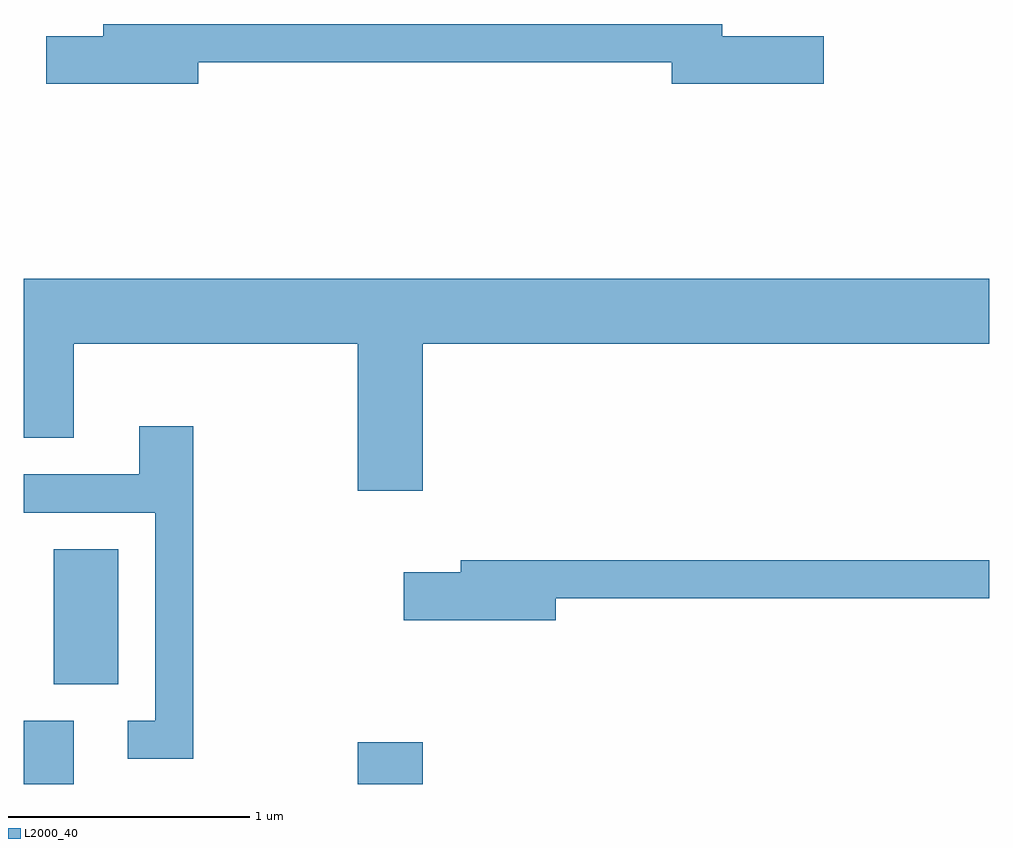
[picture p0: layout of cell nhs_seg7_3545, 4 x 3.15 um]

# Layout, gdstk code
import gdstk
lib = gdstk.Library(unit=1e-6, precision=1e-09)
def R(c, l, rs):  # rectangles x0, y0, x1, y1
    for r in rs: c.add(gdstk.rectangle(r[:2], r[2:], *l))
def P(c, l, *ps):  # polygons
    for p in ps: c.add(gdstk.Polygon(p, *l))
L2000_40 = (2000, 40)

nhs_seg7_3545 = lib.new_cell('nhs_seg7_3545')
R(nhs_seg7_3545, L2000_40, [(293.611,1730.252,293.819,1730.514), (294.996,1730.252,295.264,1730.424), (293.736,1730.666,294.004,1731.224)])
P(nhs_seg7_3545, L2000_40, [(294.334,1733.241),(296.296,1733.241),(296.296,1733.151),(296.924,1733.151),(296.924,1733.349),(296.504,1733.349),(296.504,1733.399),(293.941,1733.399),(293.941,1733.349),(293.706,1733.349),(293.706,1733.151),(294.334,1733.151)],
  [(295.264,1732.076),(297.611,1732.076),(297.611,1732.344),(293.611,1732.344),(293.611,1731.686),(293.819,1731.686),(293.819,1732.076),(294.996,1732.076),(294.996,1731.466),(295.264,1731.466)],
  [(294.314,1731.734),(294.091,1731.734),(294.091,1731.534),(293.611,1731.534),(293.611,1731.376),(294.156,1731.376),(294.156,1730.514),(294.043,1730.514),(294.043,1730.356),(294.314,1730.356)],
  [(295.814,1731.021),(297.611,1731.021),(297.611,1731.179),(295.421,1731.179),(295.421,1731.129),(295.186,1731.129),(295.186,1730.931),(295.814,1730.931)])

lib.write_gds('nhs_seg7_3545.gds')
